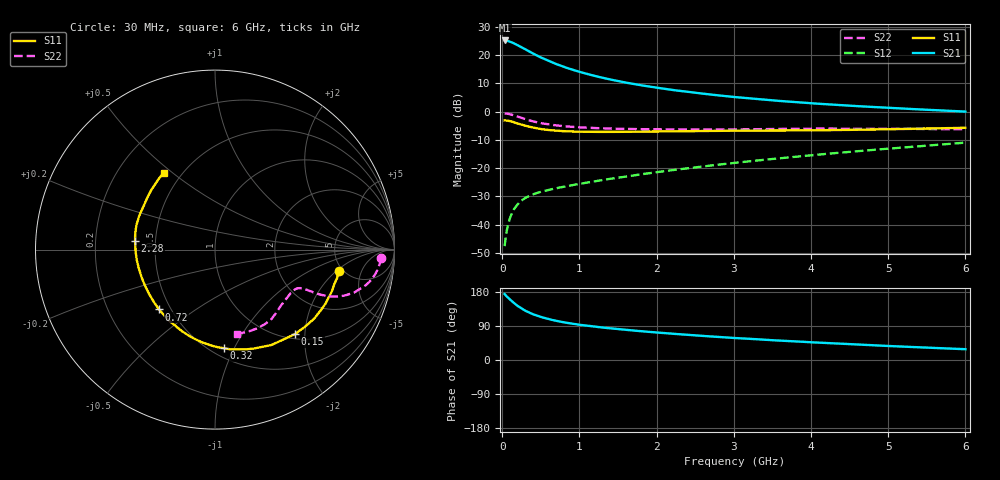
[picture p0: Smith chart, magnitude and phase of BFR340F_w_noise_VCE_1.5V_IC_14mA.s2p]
! Infineon Technologies  Discrete & RF Semiconductors
! BFR340F
! VCE =  1.5 V,  IC =  14 mA
! Common Emitter S-Parameters:  Nov 2015
# GHz  S  MA  R  50
!  f  S11  S21  S12  S22
! GHz  MAG  ANG  MAG  ANG  MAG  ANG  MAG  ANG
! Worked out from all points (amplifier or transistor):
!   206 points, 30 MHz to 6 GHz, reference 50 ohm
!   highest |S21| = 25.1 dB at 30 MHz (marker M1)
!   |S21| within 3 dB of that: start of sweep to 290.1 MHz
!   unconditionally stable (mu >= 1): 919.2 MHz to 5.706 GHz
!   at 200 MHz: K = 0.36, MSG = 28.1 dB, |S12| = -32.7 dB
!   at 1.56 GHz: K = 1.22, MAG = 13.9 dB, |S12| = -23.1 dB
!   at 6 GHz: K = 0.98, MSG = 5.5 dB, |S12| = -11.0 dB
!   lowest NFmin = 1.79 dB at 450 MHz
!   S11 on the Smith chart (normalised r, x): 30 MHz: 4.57, -2.17; 150 MHz: 1.10, -1.78; 320 MHz: 0.58, -0.91; 720 MHz: 0.43, -0.36; 2.28 GHz: 0.38, +0.05; 6 GHz: 0.40, +0.47
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0.03  0.6988 -10.0  17.95 174.1  0.0042 82.3  0.9254 -2.8
0.05  0.6916 -16.3  17.71 169.2  0.0069 80.5  0.9204 -5.1
0.07  0.6867 -22.9  17.59 165.2  0.0095 79.0  0.9123 -7.1
0.11  0.6736 -34.8  16.85 157.7  0.0144 73.5  0.8868 -10.9
0.15  0.6486 -46.5  16 150.4  0.0187 69.4  0.8546 -14.0
0.2  0.6174 -59.5  14.84 142.5  0.0232 64.8  0.8116 -17.1
0.24  0.5918 -68.7  13.86 137.1  0.0262 61.9  0.7779 -18.9
0.28  0.5699 -77.2  12.94 132.2  0.0287 59.6  0.7465 -20.3
0.32  0.5516 -84.9  12.07 127.9  0.0309 57.8  0.7178 -21.3
0.4  0.521 -98.3  10.53 120.5  0.0346 55.5  0.6694 -22.6
0.5  0.4909 -111.9  8.993 113.4  0.0383 54.1  0.6239 -23.3
0.6  0.4717 -122.7  7.802 107.7  0.0414 54.0  0.5917 -23.5
0.72  0.4561 -133.0  6.711 102.5  0.0449 54.7  0.5644 -23.6
0.9  0.4437 -145.2  5.511 96.0  0.0499 56.4  0.5368 -23.9
1.04  0.4388 -152.4  4.845 92.0  0.054 58.1  0.5227 -24.3
1.48  0.4373 -168.7  3.489 81.8  0.0675 63.1  0.4969 -26.7
2.02  0.4432 178.7  2.608 72.3  0.0857 67.7  0.485 -31.2
2.28  0.4481 173.7  2.331 68.3  0.0952 69.4  0.4825 -33.7
3.1  0.4587 161.6  1.757 57.1  0.1279 72.8  0.4842 -42.5
4.1  0.4666 148.3  1.37 45.9  0.1738 74.1  0.4989 -52.3
5.1  0.4886 135.4  1.144 36.2  0.2266 73.3  0.4958 -63.7
6  0.5157 123.6  0.997 28.5  0.2822 70.9  0.4852 -75.2
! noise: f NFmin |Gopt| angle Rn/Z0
0.45  1.79  0.09  -8  0.25
0.9  2.09  0.07  -2  0.32
1.9  3.08  0.16  -130  0.4
2.4  3.64  0.25  -138  0.37
